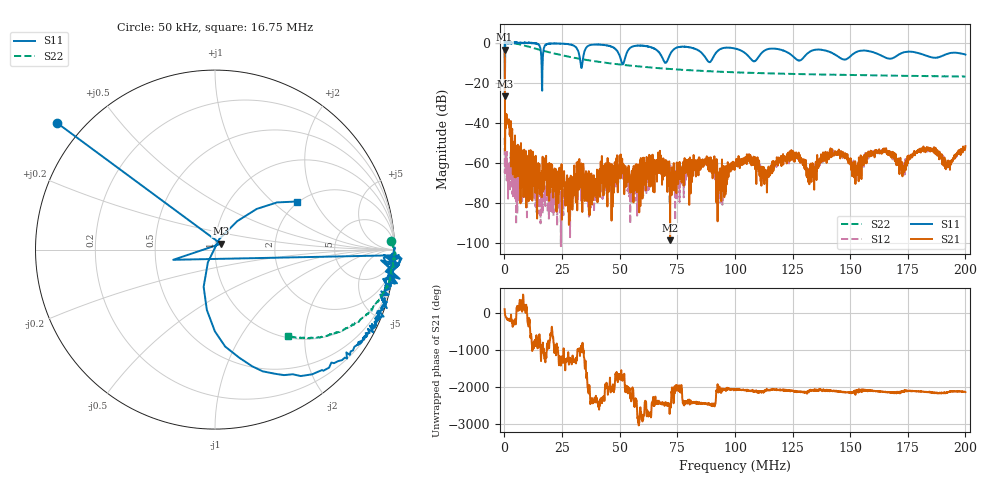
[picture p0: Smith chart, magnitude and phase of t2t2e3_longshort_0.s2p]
! 27-Aug-26 2:14:59 PM
! E:\20260827_VNA\T2T2E3_LONGSHORT_0.S2P
! CHANNEL.1
! TR.MEASUREMENT
! CORRECTED.DATA
# GHZ S RI R 50.0
! FREQ.GHZ  S11RE  S11IM  S21RE  S21IM  S12RE  S12IM  S22RE  S22IM
!; PortSelection: Port_12
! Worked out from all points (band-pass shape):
!   2000 points, 50 kHz to 200 MHz, reference 50 ohm
!   highest |S21| = -3.60 dB at 50 kHz (marker M1); lowest = -98.9 dB at 71.87 MHz (marker M2)
!   |S21| within 3 dB of the highest: start of sweep to 102.4 kHz
!   lowest |S11| = -26.8 dB at 150 kHz (marker M3), VSWR 1.10, Z = 53.2 + j3.44 ohm
!   |S11| at or under -10 dB: 32.98 MHz to 33.84 MHz (863.2 kHz wide, 2.58 % of centre); 50.93 MHz to 51.77 MHz (843.2 kHz wide, 1.64 % of centre); 69.61 MHz to 70.17 MHz (558.9 kHz wide, 0.8 % of centre)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
!   |S22| runs from -17.0 to 0.1 dB; largest |S21 - S12| = 0.67
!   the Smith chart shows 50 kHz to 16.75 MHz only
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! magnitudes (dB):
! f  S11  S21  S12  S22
! 50 kHz  1.1  -3.6  -47.5  -0.1
! 150 kHz  -26.8  -9.3  -65.1  0.0
! 1.25 MHz  -0.5  -38.8  -67.4  0.0
! 3.851 MHz  0.0  -54.2  -66.1  -0.3
! 9.752 MHz  -0.1  -58.9  -88.4  -1.9
! 16.25 MHz  -21.8  -71.1  -82.5  -3.9
! 27.16 MHz  -0.7  -66.3  -74.1  -6.9
! 33.46 MHz  -12.7  -70.2  -70.9  -8.2
! 37.66 MHz  -1.1  -65.4  -78.4  -9.1
! 49.66 MHz  -5.8  -63.9  -64.5  -10.9
! 54.96 MHz  -2.3  -69.7  -79.5  -11.6
! 66.77 MHz  -4.5  -54.8  -62.5  -12.7
! 71.87 MHz  -5.9  -98.9  -69.5  -13.2
! 87.47 MHz  -7.9  -59.0  -59.0  -14.2
! 93.87 MHz  -3.1  -64.0  -64.6  -14.6
! 100.1 MHz  -2.9  -60.6  -61.1  -14.8
! 112.8 MHz  -4.0  -70.7  -67.0  -15.3
! 126 MHz  -7.7  -56.1  -55.1  -15.7
! 133.4 MHz  -4.0  -66.9  -67.1  -15.8
! 166.7 MHz  -8.0  -56.1  -55.4  -16.4
! 192.5 MHz  -5.5  -58.9  -61.1  -16.9
! 200 MHz  -6.0  -51.7  -52.9  -17.0
